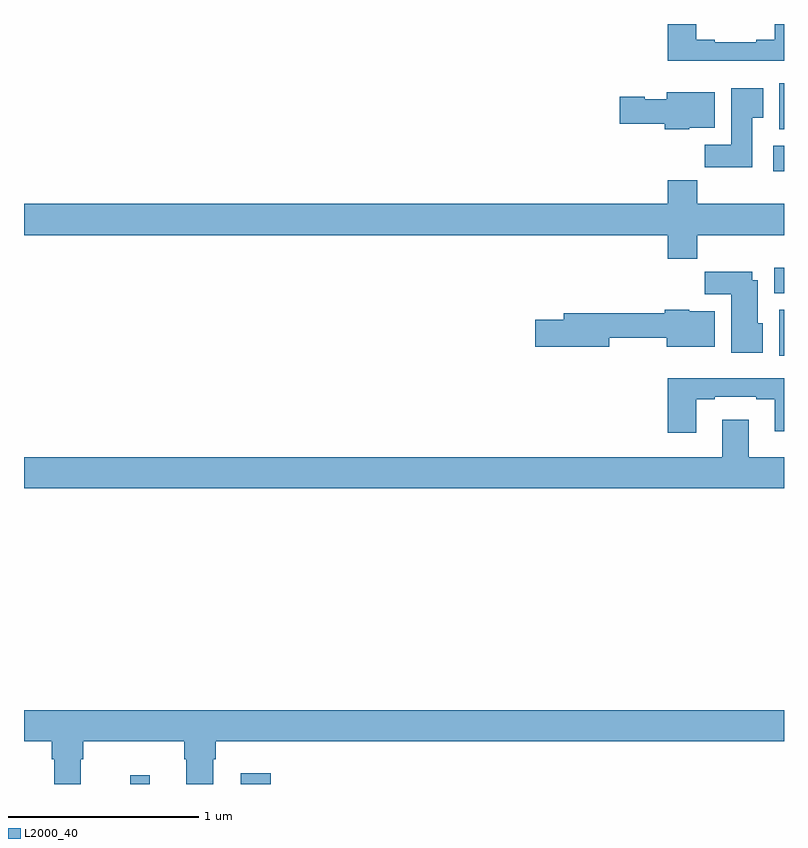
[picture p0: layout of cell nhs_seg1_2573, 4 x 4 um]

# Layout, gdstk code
import gdstk
lib = gdstk.Library(unit=1e-6, precision=1e-09)
def R(c, l, rs):  # rectangles x0, y0, x1, y1
    for r in rs: c.add(gdstk.rectangle(r[:2], r[2:], *l))
def P(c, l, *ps):  # polygons
    for p in ps: c.add(gdstk.Polygon(p, *l))
L2000_40 = (2000, 40)

nhs_seg1_2573 = lib.new_cell('nhs_seg1_2573')
R(nhs_seg1_2573, L2000_40, [(251.56,526.199,251.663,526.246), (252.14,526.199,252.299,526.255), (254.975,528.452,255,528.694), (254.948,528.782,255,528.916), (254.943,529.424,255,529.558), (254.975,529.646,255,529.888)])
P(nhs_seg1_2573, L2000_40, [(255,530.199),(254.951,530.199),(254.951,530.116),(254.855,530.116),(254.855,530.103),(254.635,530.103),(254.635,530.116),(254.539,530.116),(254.539,530.199),(254.387,530.199),(254.387,530.006),(255,530.006)],
  [(254.833,529.705),(254.89,529.705),(254.89,529.861),(254.723,529.861),(254.723,529.564),(254.584,529.564),(254.584,529.446),(254.833,529.446)],
  [(254.502,529.652),(254.635,529.652),(254.635,529.84),(254.384,529.84),(254.384,529.804),(254.268,529.804),(254.268,529.817),(254.136,529.817),(254.136,529.675),(254.372,529.675),(254.372,529.646),(254.502,529.646)],
  [(254.543,529.088),(255,529.088),(255,529.252),(254.543,529.252),(254.543,529.376),(254.387,529.376),(254.387,529.252),(251,529.252),(251,529.088),(254.387,529.088),(254.387,528.964),(254.543,528.964)],
  [(254.887,528.624),(254.863,528.624),(254.863,528.85),(254.833,528.85),(254.833,528.895),(254.584,528.895),(254.584,528.776),(254.723,528.776),(254.723,528.47),(254.887,528.47)],
  [(254.08,528.547),(254.384,528.547),(254.384,528.5),(254.635,528.5),(254.635,528.688),(254.502,528.688),(254.502,528.694),(254.372,528.694),(254.372,528.676),(253.841,528.676),(253.841,528.642),(253.692,528.642),(253.692,528.5),(254.08,528.5)],
  [(254.539,528.225),(254.635,528.225),(254.635,528.237),(254.855,528.237),(254.855,528.225),(254.951,528.225),(254.951,528.056),(255,528.056),(255,528.334),(254.387,528.334),(254.387,528.048),(254.539,528.048)],
  [(255,527.92),(254.815,527.92),(254.815,528.115),(254.675,528.115),(254.675,527.92),(251,527.92),(251,527.756),(255,527.756)],
  [(251.299,526.328),(251.312,526.328),(251.312,526.424),(251.843,526.424),(251.843,526.328),(251.855,526.328),(251.855,526.199),(251.995,526.199),(251.995,526.328),(252.008,526.328),(252.008,526.424),(255,526.424),(255,526.588),(251,526.588),(251,526.424),(251.147,526.424),(251.147,526.328),(251.159,526.328),(251.159,526.199),(251.299,526.199)])

lib.write_gds('nhs_seg1_2573.gds')
